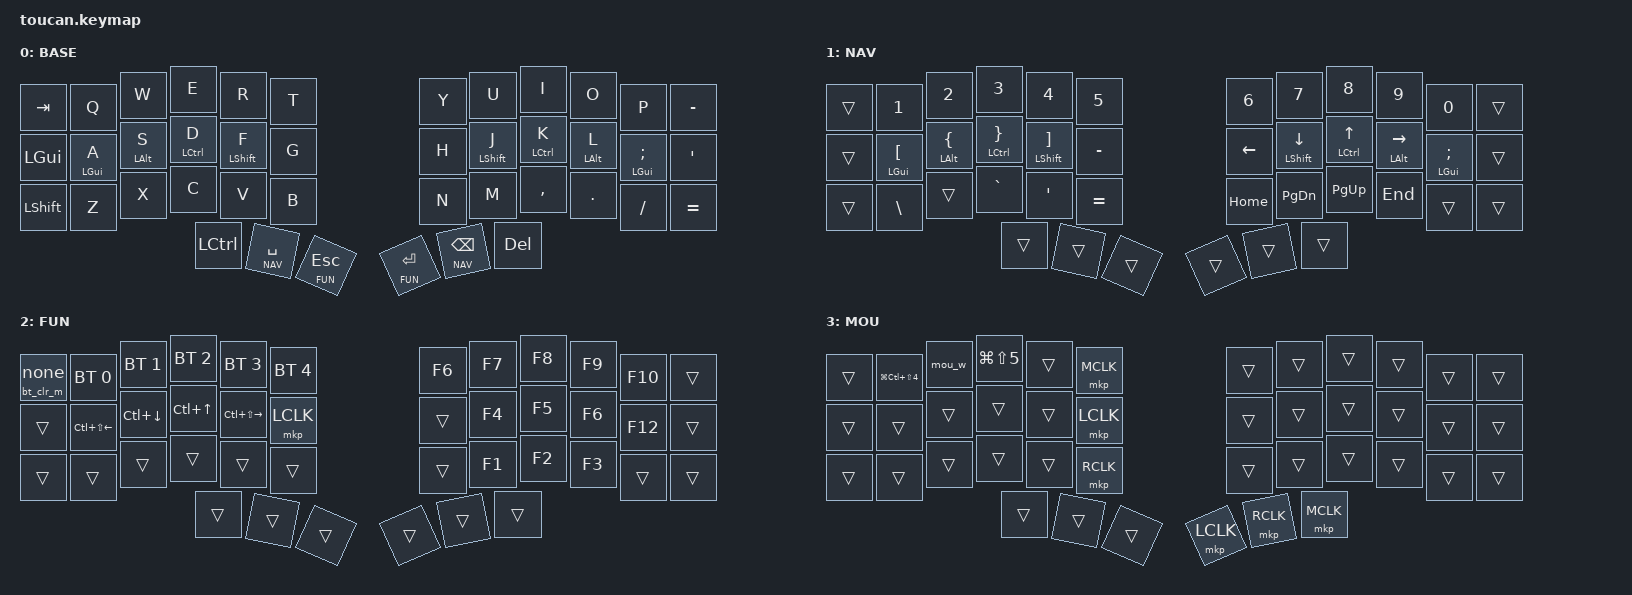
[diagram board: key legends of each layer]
#include <behaviors.dtsi>
#include <dt-bindings/zmk/bt.h>
#include <dt-bindings/zmk/keys.h>
#include <dt-bindings/zmk/pointing.h>

#define BASE  0
#define NAV   1
#define FUN   2
#define MOUSE 3

#define KEYS_L 0 1 2 3 4 5 12 13 14 15 16 17 24 25 26 27 28 29
#define KEYS_R 6 7 8 9 10 11 18 19 20 21 22 23 30 31 32 33 34 35
#define THUMBS 36 37 38 39 40 41

&lt {
    flavor = "balanced";
    // 0 にしないのは、タップ直後の長押しでキーリピートを効かせるため。
    quick-tap-ms = <200>;
};

/ {
    behaviors {
        hml: home_row_mod_left {
            compatible = "zmk,behavior-hold-tap";
            #binding-cells = <2>;
            flavor = "balanced";
            // 実用的な短い値にしないのは、時間ではなく次に押されたキーの位置だけで
            // 判定させるため(timerless)。
            tapping-term-ms = <2000>;
            quick-tap-ms = <175>;
            require-prior-idle-ms = <150>;
            // 同じ手のキーを含めないのは、同手のロールがホールドに化けるのを防ぐため。
            hold-trigger-key-positions = <KEYS_R THUMBS>;
            hold-trigger-on-release;
            bindings = <&kp>, <&kp>;
        };

        hmr: home_row_mod_right {
            compatible = "zmk,behavior-hold-tap";
            #binding-cells = <2>;
            flavor = "balanced";
            tapping-term-ms = <2000>;   // hml と同じ理由
            quick-tap-ms = <175>;
            require-prior-idle-ms = <150>;
            hold-trigger-key-positions = <KEYS_L THUMBS>;   // hml と同じ理由
            hold-trigger-on-release;
            bindings = <&kp>, <&kp>;
        };

        // レイヤキー(SPACE/ESC/RET)は「レイヤ+キー」を素早くロール押ししてもタップに化けないよう、
        // 押している間に他のキーが押された時点でホールドにする。
        // quick-tap-ms / require-prior-idle-ms を書かないのは、直前の打鍵に関係なく長押しで必ずレイヤに入れるため。
        // (require-prior-idle-ms は直前の任意のキーを見るので、BSPC 直後の SPACE 長押しがタップ+リピートになっていた)
        lt_hp: layer_tap_hold_preferred {
            compatible = "zmk,behavior-hold-tap";
            #binding-cells = <2>;
            flavor = "hold-preferred";
            tapping-term-ms = <200>;
            bindings = <&mo>, <&kp>;
        };

        // BSPC 用の NAV キー。ロール押しでタップに化けないよう hold-preferred にする。
        // quick-tap を残すのは、ダブルタップ+押しっぱなしで BSPC を連続入力するため。
        // require-prior-idle-ms は、打ち間違いの修正で「文字→BSPC」とロールしたときに NAV に化けるのを防ぐため。
        lt_nav_bspc: layer_tap_nav_bspc {
            compatible = "zmk,behavior-hold-tap";
            #binding-cells = <2>;
            flavor = "hold-preferred";
            tapping-term-ms = <200>;
            quick-tap-ms = <200>;
            require-prior-idle-ms = <150>;
            bindings = <&mo>, <&kp>;
        };

        // MOU の W は SS Area(⌘⇧4)なので、そのままだと ⌘W も ⌘⇧4 になってしまう。
        // ⌘ と一緒に押したときだけ ⌘W(ウィンドウを閉じる)に戻す。
        mou_w: mou_w {
            compatible = "zmk,behavior-mod-morph";
            #binding-cells = <0>;
            bindings = <&kp LG(LS(N4))>, <&kp LG(W)>;
            mods = <(MOD_LGUI|MOD_RGUI)>;
        };

        // hold-tap からは引数を1つしか渡せず、&bt BT_CLR(引数2つ)を直接置けないので包む。
        bt_clr_m: bt_clr_macro {
            compatible = "zmk,behavior-macro";
            #binding-cells = <0>;
            bindings = <&bt BT_CLR>;
        };

        // FUN のロール押しで BT_CLR が暴発しペアリングが消えていたので、2秒長押ししたときだけ発動させる。
        // tap-preferred にするのは、押している間に他のキーを押しても長押し扱いにしないため。
        bt_clr_hold: bt_clr_hold {
            compatible = "zmk,behavior-hold-tap";
            #binding-cells = <2>;
            flavor = "tap-preferred";
            tapping-term-ms = <2000>;
            bindings = <&bt_clr_m>, <&none>;
        };
    };

    combos {
        compatible = "zmk,combos";

        combo_eisu {
            timeout-ms = <50>;
            key-positions = <4 16>;
            layers = <BASE>;
            bindings = <&kp LANG2>;
        };

        combo_kana {
            timeout-ms = <50>;
            key-positions = <7 19>;
            layers = <BASE>;
            bindings = <&kp LANG1>;
        };

        combo_tab {
            timeout-ms = <50>;
            key-positions = <3 15>;   // E + D
            layers = <BASE>;
            bindings = <&kp TAB>;
        };

        combo_minus {
            timeout-ms = <50>;
            key-positions = <8 20>;   // I + K
            layers = <BASE>;
            bindings = <&kp MINUS>;
        };

        combo_equal {
            timeout-ms = <50>;
            key-positions = <9 21>;   // O + L
            layers = <BASE>;
            bindings = <&kp EQUAL>;
        };

        combo_ralt {
            timeout-ms = <50>;
            key-positions = <39 40>;   // 右親指 RET + BSPC
            // 他のレイヤでは親指のレイヤキー同士の同時押しになるので BASE 限定。
            layers = <BASE>;
            bindings = <&kp RALT>;
        };
    };

    keymap {
        compatible = "zmk,keymap";

        base {
            display-name = "BASE";
            bindings = <
&kp TAB  &kp Q  &kp W  &kp E  &kp R  &kp T  &kp Y  &kp U  &kp I  &kp O  &kp P  &kp MINUS  &kp LGUI  &hml LGUI A  &hml LALT S  &hml LCTRL D  &hml LSHFT F  &kp G  &kp H  &hmr LSHFT J  &hmr LCTRL K  &hmr LALT L  &hmr LGUI SEMI  &kp SQT  &kp LSHFT  &kp Z  &kp X  &kp C  &kp V  &kp B  &kp N  &kp M  &kp COMMA  &kp DOT  &kp FSLH  &kp EQUAL  &kp LCTRL  &lt_hp NAV SPACE  &lt_hp FUN ESC  &lt_hp FUN RET  &lt_nav_bspc NAV BSPC  &kp DEL
            >;
        };

        nav {
            display-name = "NAV";
            bindings = <
&trans  &kp N1  &kp N2  &kp N3  &kp N4  &kp N5  &kp N6  &kp N7  &kp N8  &kp N9  &kp N0  &trans  &trans  &hml LGUI LBKT  &hml LALT LBRC  &hml LCTRL RBRC  &hml LSHFT RBKT  &kp MINUS  &kp LEFT  &hmr LSHFT DOWN  &hmr LCTRL UP  &hmr LALT RIGHT  &hmr LGUI SEMI  &trans  &trans  &kp BSLH  &trans  &kp GRAVE  &kp SQT  &kp EQUAL  &kp HOME  &kp PG_DN  &kp PG_UP  &kp END  &trans  &trans  &trans  &trans  &trans  &trans  &trans  &trans
            >;
        };

        fun {
            display-name = "FUN";
            bindings = <
&bt_clr_hold 0 0  &bt BT_SEL 0  &bt BT_SEL 1  &bt BT_SEL 2  &bt BT_SEL 3  &bt BT_SEL 4  &kp F6  &kp F7  &kp F8  &kp F9  &kp F10  &trans  &trans  &kp LC(LS(LEFT))  &kp LC(DOWN)  &kp LC(UP)  &kp LC(LS(RIGHT))  &mkp LCLK  &trans  &kp F4  &kp F5  &kp F6  &kp F12  &trans  &trans  &trans  &trans  &trans  &trans  &trans  &trans  &kp F1  &kp F2  &kp F3  &trans  &trans  &trans  &trans  &trans  &trans  &trans  &trans
            >;
        };

        mouse {
            display-name = "MOU";
            bindings = <
&trans  &kp LG(LC(LS(N4)))  &mou_w  &kp LG(LS(N5))  &trans  &mkp MCLK  &trans  &trans  &trans  &trans  &trans  &trans  &trans  &trans  &trans  &trans  &trans  &mkp LCLK  &trans  &trans  &trans  &trans  &trans  &trans  &trans  &trans  &trans  &trans  &trans  &mkp RCLK  &trans  &trans  &trans  &trans  &trans  &trans  &trans  &trans  &trans  &mkp LCLK  &mkp RCLK  &mkp MCLK
            >;
        };
    };
};
